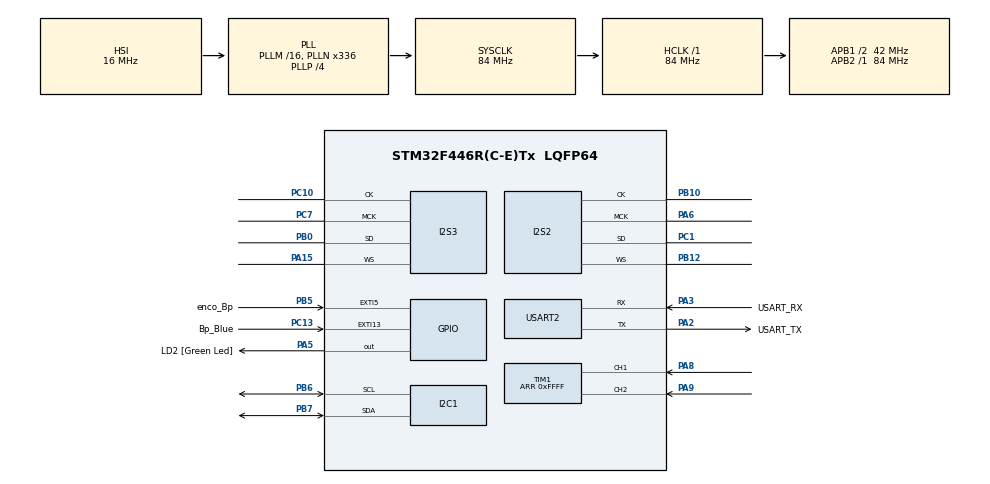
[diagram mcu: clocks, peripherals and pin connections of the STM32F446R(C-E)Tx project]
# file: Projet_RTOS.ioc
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Dma.Request0=SPI2_RX
Dma.Request1=SPI3_TX
Dma.SPI2_RX.0.Direction=DMA_PERIPH_TO_MEMORY
Dma.SPI2_RX.0.FIFOMode=DMA_FIFOMODE_DISABLE
Dma.SPI2_RX.0.Instance=DMA1_Stream3
Dma.SPI2_RX.0.MemDataAlignment=DMA_MDATAALIGN_HALFWORD
Dma.SPI2_RX.0.MemInc=DMA_MINC_ENABLE
Dma.SPI2_RX.0.Mode=DMA_CIRCULAR
Dma.SPI2_RX.0.PeriphDataAlignment=DMA_PDATAALIGN_HALFWORD
Dma.SPI2_RX.0.PeriphInc=DMA_PINC_DISABLE
Dma.SPI2_RX.0.Priority=DMA_PRIORITY_LOW
Dma.SPI3_TX.1.Direction=DMA_MEMORY_TO_PERIPH
Dma.SPI3_TX.1.FIFOMode=DMA_FIFOMODE_DISABLE
Dma.SPI3_TX.1.Instance=DMA1_Stream5
Dma.SPI3_TX.1.MemDataAlignment=DMA_MDATAALIGN_HALFWORD
Dma.SPI3_TX.1.MemInc=DMA_MINC_ENABLE
Dma.SPI3_TX.1.Mode=DMA_CIRCULAR
Dma.SPI3_TX.1.PeriphDataAlignment=DMA_PDATAALIGN_HALFWORD
Dma.SPI3_TX.1.PeriphInc=DMA_PINC_DISABLE
Dma.SPI3_TX.1.Priority=DMA_PRIORITY_LOW
FREERTOS.BinarySemaphores01=AudioSem,Dynamic,NULL,Available
FREERTOS.Events01=WaitNewVal,Dynamic,NULL
FREERTOS.Tasks01=defaultTask,24,128,StartDefaultTask,Default,NULL,Dynamic,NULL,NULL;ReadEncTask,25,128,StartReadEncTask,Default,NULL,Dynamic,NULL,NULL;AudioTask,32,128,StartAudioTask,Default,NULL,Dynamic,NULL,NULL;DisplayTask,25,128,StartDisplayTask,Default,NULL,Dynamic,NULL,NULL
FREERTOS.configENABLE_FPU=1
FREERTOS.configUSE_NEWLIB_REENTRANT=1
I2S2.AudioFreq=I2S_AUDIOFREQ_44K
I2S2.ErrorAudioFreq=-5.3 %
I2S2.FullDuplexMode=I2S_FULLDUPLEXMODE_DISABLE
I2S2.Instance=SPI$Index
I2S2.Mode=I2S_MODE_MASTER_RX
I2S2.RealAudioFreq=41.666 KHz
I2S2.VirtualMode=I2S_MODE_MASTER
I2S3.AudioFreq=I2S_AUDIOFREQ_44K
I2S3.ErrorAudioFreq=-5.3 %
I2S3.FullDuplexMode=I2S_FULLDUPLEXMODE_DISABLE
I2S3.Instance=SPI$Index
I2S3.Mode=I2S_MODE_MASTER_TX
I2S3.RealAudioFreq=41.666 KHz
I2S3.VirtualMode=I2S_MODE_MASTER
Mcu.Family=STM32F4
Mcu.Name=STM32F446R(C-E)Tx
Mcu.Package=LQFP64
NVIC.DMA1_Stream3_IRQn=true\:5\:0\:false\:false\:true\:true\:false\:true\:true
NVIC.DMA1_Stream5_IRQn=true\:5\:0\:false\:false\:true\:true\:false\:true\:true
NVIC.EXTI15_10_IRQn=true\:5\:0\:false\:false\:true\:true\:true\:true\:true
NVIC.EXTI9_5_IRQn=true\:5\:0\:false\:false\:true\:true\:true\:true\:true
NVIC.FPU_IRQn=true\:5\:0\:false\:false\:true\:true\:true\:false\:true
NVIC.PriorityGroup=NVIC_PRIORITYGROUP_4
NVIC.TIM7_IRQn=true\:15\:0\:false\:false\:true\:false\:false\:true\:true
NVIC.TimeBase=TIM7_IRQn
NVIC.TimeBaseIP=TIM7
PA13.GPIO_Label=TMS
PA13.Mode=Serial_Wire
PA13.Signal=SYS_JTMS-SWDIO
PA14.GPIO_Label=TCK
PA14.Mode=Serial_Wire
PA14.Signal=SYS_JTCK-SWCLK
PA15.Mode=Half_Duplex_Master
PA15.Signal=I2S3_WS
PA2.GPIO_Label=USART_TX
PA2.Mode=Asynchronous
PA2.Signal=USART2_TX
PA3.GPIO_Label=USART_RX
PA3.Mode=Asynchronous
PA3.Signal=USART2_RX
PA5.GPIO_Label=LD2 [Green Led]
PA5.Signal=GPIO_Output
PA6.Mode=Master_Clock_Activated
PA6.Signal=I2S2_MCK
PA8.GPIO_PuPd=GPIO_PULLUP
PA8.Signal=S_TIM1_CH1
PA9.GPIO_PuPd=GPIO_PULLUP
PA9.Signal=S_TIM1_CH2
PB0.Mode=Half_Duplex_Master
PB0.Signal=I2S3_SD
PB10.Mode=Half_Duplex_Master
PB10.Signal=I2S2_CK
PB12.Mode=Half_Duplex_Master
PB12.Signal=I2S2_WS
PB3.GPIO_Label=SWO
PB3.Signal=SYS_JTDO-SWO
PB5.GPIO_Label=enco_Bp
PB5.GPIO_PuPd=GPIO_PULLUP
PB5.Signal=GPXTI5
PB6.Mode=I2C
PB6.Signal=I2C1_SCL
PB7.Mode=I2C
PB7.Signal=I2C1_SDA
PC1.Mode=Half_Duplex_Master
PC1.Signal=I2S2_SD
PC10.Mode=Half_Duplex_Master
PC10.Signal=I2S3_CK
PC13.GPIO_Label=Bp_Blue
PC13.Signal=GPXTI13
PC14-OSC32_IN.Mode=LSE-External-Oscillator
PC14-OSC32_IN.Signal=RCC_OSC32_IN
PC15-OSC32_OUT.Mode=LSE-External-Oscillator
PC15-OSC32_OUT.Signal=RCC_OSC32_OUT
PC7.Mode=Master_Clock_Activated
PC7.Signal=I2S3_MCK
PH0-OSC_IN.Mode=HSE-External-Oscillator
PH0-OSC_IN.Signal=RCC_OSC_IN
PH1-OSC_OUT.Mode=HSE-External-Oscillator
PH1-OSC_OUT.Signal=RCC_OSC_OUT
ProjectManager.HeapSize=0x200
ProjectManager.StackSize=0x400
ProjectManager.TargetToolchain=STM32CubeIDE
RCC.48MHZClocksFreq_Value=84000000
RCC.AHBFreq_Value=84000000
RCC.APB1CLKDivider=RCC_HCLK_DIV2
RCC.APB1Freq_Value=42000000
RCC.APB1TimFreq_Value=84000000
RCC.APB2Freq_Value=84000000
RCC.APB2TimFreq_Value=84000000
RCC.CortexFreq_Value=84000000
RCC.FLatency-AdvancedSettings=FLASH_LATENCY_2
RCC.HCLKFreq_Value=84000000
RCC.HSE_VALUE=8000000
RCC.HSI_VALUE=16000000
RCC.PLLN=336
RCC.PLLP=RCC_PLLP_DIV4
RCC.SYSCLKFreq_VALUE=84000000
RCC.SYSCLKSource=RCC_SYSCLKSOURCE_PLLCLK
RCC.USBFreq_Value=168000000
RCC.VCOOutputFreq_Value=336000000
SH.S_TIM1_CH1.0=TIM1_CH1,Encoder_Interface
SH.S_TIM1_CH2.0=TIM1_CH2,Encoder_Interface
TIM1.EncoderMode=TIM_ENCODERMODE_TI1
TIM1.IC1Filter=4
TIM1.IC1Polarity=TIM_ICPOLARITY_RISING
TIM1.IC2Filter=4
TIM1.IC2Polarity=TIM_ICPOLARITY_RISING
TIM1.Period=0xFFFF
USART2.VirtualMode=VM_ASYNC
VP_FREERTOS_VS_CMSIS_V2.Mode=CMSIS_V2
VP_SYS_VS_tim7.Mode=TIM7
board=NUCLEO-F446RE

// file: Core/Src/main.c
/* USER CODE BEGIN Header */
/**
  ******************************************************************************
  * @file           : main.c
  * @brief          : Main program body
  ******************************************************************************
  * @attention
  *
  * Copyright (c) 2025 STMicroelectronics.
  * All rights reserved.
  *
  * This software is licensed under terms that can be found in the LICENSE file
  * in the root directory of this software component.
  * If no LICENSE file comes with this software, it is provided AS-IS.
  *
  ******************************************************************************
  */
/* USER CODE END Header */
#include "main.h"
#include "cmsis_os.h"
#include "dma.h"
#include "i2c.h"
#include "i2s.h"
#include "tim.h"
#include "usart.h"
#include "gpio.h"

/* USER CODE BEGIN PV */
volatile uint32_t i2s_dma_flags = 0;
volatile uint32_t i2s_enco_bp_flags = 0;

#if defined(CMSIS_Filtering)
float32_t biquadCoeffs[5];
float32_t biquadState[2 * NUM_STAGES];
arm_biquad_cascade_df2T_instance_f32 biquad;
#elif defined(USER_DF2T)
float32_t biquadCoeffs[5];
float32_t biquadState[2 * NUM_STAGES];
#elif defined(USER_DF1)
float32_t biquadCoeffs[5];
q15_t biquadState[4 * NUM_STAGES];
#endif
/* USER CODE END PV */

void SystemClock_Config(void);
void PeriphCommonClock_Config(void);
void MX_FREERTOS_Init(void);

int main(void)
{

  /* MCU Configuration--------------------------------------------------------*/

  /* Reset of all peripherals, Initializes the Flash interface and the Systick. */
  HAL_Init();

  /* Configure the system clock */
  SystemClock_Config();

  /* Configure the peripherals common clocks */
  PeriphCommonClock_Config();

  /* Initialize all configured peripherals */
  MX_GPIO_Init();
  MX_DMA_Init();
  MX_USART2_UART_Init();
  MX_I2C1_Init();
  MX_TIM1_Init();
  MX_I2S2_Init();
  MX_I2S3_Init();
  /* USER CODE BEGIN 2 */
  printf("\033[2J\033[HDebut du programme\n\r");
  fflush(stdout);
  HAL_GPIO_TogglePin(LD2_GPIO_Port, LD2_Pin);
  HAL_TIM_Encoder_Start(&htim1, TIM_CHANNEL_ALL);
  lcd_init(hi2c1);
  lcd_write("HELLO");
  lcd_put_cursor(1,0);
  lcd_write("BELLEVRAS JULES");
  printf("Projet de Jules\r\n");

#if !defined(DIRECT_COPY) && !defined(AmplifyOnly) && !defined(CMSIS_Filtering) && !defined(USER_DF2T) && !defined(USER_DF1)
#error "No audio processing mode defined, please define one of: DIRECT_COPY, AmplifyOnly, CMSIS_Filtering, USER_DF2T, USER_DF1"
#elif defined(DIRECT_COPY)
#if defined(AmplifyOnly) || defined(CMSIS_Filtering) || defined(USER_DF2T) || defined(USER_DF1)
  #error "Multiple audio processing modes defined, please define only one of: DIRECT_COPY, AmplifyOnly, CMSIS_Filtering, USER_DF2T, USER_DF1"
#endif
	printf("Direct copy mode\r\n");
#elif defined(AmplifyOnly)
#if defined(DIRECT_COPY) || defined(CMSIS_Filtering) || defined(USER_DF2T) || defined(USER_DF1)
  #error "Multiple audio processing modes defined, please define only one of: DIRECT_COPY, AmplifyOnly, CMSIS_Filtering, USER_DF2T, USER_DF1"
#endif
	printf("Amplify only mode\r\n");
#elif defined(USER_DF2T)
#if defined(DIRECT_COPY) || defined(AmplifyOnly) || defined(CMSIS_Filtering) || defined(USER_DF1)
  #error "Multiple audio processing modes defined, please define only one of: DIRECT_COPY, AmplifyOnly, CMSIS_Filtering, USER_DF2T, USER_DF1"
#endif
	printf("User DF2T filtering mode\r\n");
#elif defined(USER_DF1)
#if defined(DIRECT_COPY) || defined(AmplifyOnly) || defined(CMSIS_Filtering) || defined(USER_DF2T)
  #error "Multiple audio processing modes defined, please define only one of: DIRECT_COPY, AmplifyOnly, CMSIS_Filtering, USER_DF2T, USER_DF1"
#endif
	printf("User DF1 filtering mode\r\n");
#elif defined(CMSIS_Filtering)
#if defined(DIRECT_COPY) || defined(AmplifyOnly) || defined(USER_DF2T) || defined(USER_DF1)
  #error "Multiple audio processing modes defined, please define only one of: DIRECT_COPY, AmplifyOnly, CMSIS_Filtering, USER_DF2T, USER_DF1"
#endif
	printf("CMSIS filtering mode\r\n");
#endif
#if defined(USER_DF2T) || defined(CMSIS_Filtering) || defined(USER_DF1)
	Param_Biq_filter_2nd_Order_Low_pass(FreqC, 44000, biquadCoeffs);
	printf("Frequence de coupure actuelle: %lu\n\r", FreqC);
	printf("Biquad Coefficients:\r\n • b0=%f\r\n • b1=%f\r\n • b2=%f\r\n • a1=%f\r\n • a2=%f\r\n",
		   biquadCoeffs[0], biquadCoeffs[1], biquadCoeffs[2],biquadCoeffs[3], biquadCoeffs[4]);
#if defined(CMSIS_Filtering)
	for (uint32_t i = 0; i < (2 * NUM_STAGES); i++){
		biquadState[i] = 0.0f;
	}
	arm_biquad_cascade_df2T_init_f32(&biquad, NUM_STAGES, biquadCoeffs, biquadState);
#elif defined(USER_DF2T)
	for (uint32_t i = 0; i < (2 * NUM_STAGES); i++){
	  biquadState[i] = 0.0f;
	}
#elif defined(USER_DF1)
	for (uint32_t i = 0; i < (4 * NUM_STAGES); i++){
	  biquadState[i] = 0;
	}
#endif
#endif
  /* USER CODE END 2 */

  /* Init scheduler */
  osKernelInitialize();  /* Call init function for freertos objects (in cmsis_os2.c) */
  MX_FREERTOS_Init();

  /* Start scheduler */
  osKernelStart();

  /* We should never get here as control is now taken by the scheduler */

  /* Infinite loop */
  while (1)
  {

  }
}

void SystemClock_Config(void)
{
  RCC_OscInitTypeDef RCC_OscInitStruct = {0};
  RCC_ClkInitTypeDef RCC_ClkInitStruct = {0};

  /** Configure the main internal regulator output voltage
  */
  __HAL_RCC_PWR_CLK_ENABLE();
  __HAL_PWR_VOLTAGESCALING_CONFIG(PWR_REGULATOR_VOLTAGE_SCALE3);

  /** Initializes the RCC Oscillators according to the specified parameters
  * in the RCC_OscInitTypeDef structure.
  */
  RCC_OscInitStruct.OscillatorType = RCC_OSCILLATORTYPE_HSI;
  RCC_OscInitStruct.HSIState = RCC_HSI_ON;
  RCC_OscInitStruct.HSICalibrationValue = RCC_HSICALIBRATION_DEFAULT;
  RCC_OscInitStruct.PLL.PLLState = RCC_PLL_ON;
  RCC_OscInitStruct.PLL.PLLSource = RCC_PLLSOURCE_HSI;
  RCC_OscInitStruct.PLL.PLLM = 16;
  RCC_OscInitStruct.PLL.PLLN = 336;
  RCC_OscInitStruct.PLL.PLLP = RCC_PLLP_DIV4;
  RCC_OscInitStruct.PLL.PLLQ = 2;
  RCC_OscInitStruct.PLL.PLLR = 2;
  if (HAL_RCC_OscConfig(&RCC_OscInitStruct) != HAL_OK)
  {
    Error_Handler();
  }

  /** Initializes the CPU, AHB and APB buses clocks
  */
  RCC_ClkInitStruct.ClockType = RCC_CLOCKTYPE_HCLK|RCC_CLOCKTYPE_SYSCLK
                              |RCC_CLOCKTYPE_PCLK1|RCC_CLOCKTYPE_PCLK2;
  RCC_ClkInitStruct.SYSCLKSource = RCC_SYSCLKSOURCE_PLLCLK;
  RCC_ClkInitStruct.AHBCLKDivider = RCC_SYSCLK_DIV1;
  RCC_ClkInitStruct.APB1CLKDivider = RCC_HCLK_DIV2;
  RCC_ClkInitStruct.APB2CLKDivider = RCC_HCLK_DIV1;

  if (HAL_RCC_ClockConfig(&RCC_ClkInitStruct, FLASH_LATENCY_2) != HAL_OK)
  {
    Error_Handler();
  }
}

void PeriphCommonClock_Config(void)
{
  RCC_PeriphCLKInitTypeDef PeriphClkInitStruct = {0};

  /** Initializes the peripherals clock
  */
  PeriphClkInitStruct.PeriphClockSelection = RCC_PERIPHCLK_I2S_APB1;
  PeriphClkInitStruct.PLLI2S.PLLI2SN = 192;
  PeriphClkInitStruct.PLLI2S.PLLI2SP = RCC_PLLI2SP_DIV2;
  PeriphClkInitStruct.PLLI2S.PLLI2SM = 16;
  PeriphClkInitStruct.PLLI2S.PLLI2SR = 2;
  PeriphClkInitStruct.PLLI2S.PLLI2SQ = 2;
  PeriphClkInitStruct.PLLI2SDivQ = 1;
  PeriphClkInitStruct.I2sApb1ClockSelection = RCC_I2SAPB1CLKSOURCE_PLLI2S;
  if (HAL_RCCEx_PeriphCLKConfig(&PeriphClkInitStruct) != HAL_OK)
  {
    Error_Handler();
  }
}

/* USER CODE BEGIN 4 */
int __io_putchar(int ch)
{
/* Custom implementation of fputc here */
HAL_UART_Transmit(&huart2, (uint8_t* )&ch, 1, 0xFFFF);
return ch;
}

/* USER CODE END 4 */

void HAL_TIM_PeriodElapsedCallback(TIM_HandleTypeDef *htim)
{
  if (htim->Instance == TIM7)
  {
    HAL_IncTick();
  }
}

void Error_Handler(void)
{
  __disable_irq();
  while (1)
  {
  }
}

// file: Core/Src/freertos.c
/* USER CODE BEGIN Header */
/**
  ******************************************************************************
  * File Name          : freertos.c
  * Description        : Code for freertos applications
  ******************************************************************************
  * @attention
  *
  * Copyright (c) 2025 STMicroelectronics.
  * All rights reserved.
  *
  * This software is licensed under terms that can be found in the LICENSE file
  * in the root directory of this software component.
  * If no LICENSE file comes with this software, it is provided AS-IS.
  *
  ******************************************************************************
  */
/* USER CODE END Header */

#include "FreeRTOS.h"
#include "task.h"
#include "main.h"
#include "cmsis_os.h"
#include <math.h>

/* USER CODE BEGIN PD */
#ifdef CMSIS_Filtering
static float32_t buf_in[I2S_HALF_BUFFER_SIZE];
static float32_t buf_out[I2S_HALF_BUFFER_SIZE];
#endif
/* USER CODE END PD */

/* USER CODE BEGIN Variables */
int8_t menu_index = 0;
int8_t sub_menu_index = 0;
int16_t delta = 0;

static int16_t i2s3_buffer[I2S_BUFFER_SIZE];
static int16_t i2s2_buffer[I2S_BUFFER_SIZE];

int32_t GainValue = 0;
int32_t FreqC = 10000;
int32_t FreqC_Old = 10000;

/* USER CODE END Variables */
/* Definitions for defaultTask */
osThreadId_t defaultTaskHandle;
const osThreadAttr_t defaultTask_attributes = {
  .name = "defaultTask",
  .stack_size = 128 * 4,
  .priority = (osPriority_t) osPriorityNormal,
};
/* Definitions for ReadEncTask */
osThreadId_t ReadEncTaskHandle;
const osThreadAttr_t ReadEncTask_attributes = {
  .name = "ReadEncTask",
  .stack_size = 128 * 4,
  .priority = (osPriority_t) osPriorityNormal1,
};
/* Definitions for AudioTask */
osThreadId_t AudioTaskHandle;
const osThreadAttr_t AudioTask_attributes = {
  .name = "AudioTask",
  .stack_size = 128 * 4,
  .priority = (osPriority_t) osPriorityAboveNormal,
};
/* Definitions for DisplayTask */
osThreadId_t DisplayTaskHandle;
const osThreadAttr_t DisplayTask_attributes = {
  .name = "DisplayTask",
  .stack_size = 128 * 4,
  .priority = (osPriority_t) osPriorityNormal1,
};
/* Definitions for AudioSem */
osSemaphoreId_t AudioSemHandle;
const osSemaphoreAttr_t AudioSem_attributes = {
  .name = "AudioSem"
};
/* Definitions for WaitNewVal */
osEventFlagsId_t WaitNewValHandle;
const osEventFlagsAttr_t WaitNewVal_attributes = {
  .name = "WaitNewVal"
};

/* USER CODE BEGIN FunctionPrototypes */

static inline int16_t EncoderSteps(void)
{
	// Convert 0-65535 to -32768 to +32767
	int16_t Val = (int16_t)__HAL_TIM_GET_COUNTER(&htim1)>>1;
    return Val;
}

static inline int32_t clamp_int32(int32_t value, int32_t min, int32_t max)
{
	if (value < min) {
		return min;
	}
	if (value > max) {
		return max;
	}
	return value;
}

static void UpdateBiquadIfFreqChanged(void)
{
#if defined(USER_DF2T) || defined(CMSIS_Filtering) || defined(USER_DF1)
	if (FreqC != FreqC_Old) {
		FreqC_Old = FreqC;
		Param_Biq_filter_2nd_Order_Low_pass((uint16_t)FreqC, 44000U, biquadCoeffs);
		printf("\033[F\033[K");
		printf("\033[F\033[K");
		printf("\033[F\033[K");
		printf("\033[F\033[K");
		printf("\033[F\033[K");
		printf("\033[F\033[K");
		printf("\033[F\033[KFrequence de coupure actuelle: %lu\n\r", FreqC);
		printf("Biquad Coefficients:\r\n • b0=%f\r\n • b1=%f\r\n • b2=%f\r\n • a1=%f\r\n • a2=%f\r\n",
					biquadCoeffs[0], biquadCoeffs[1], biquadCoeffs[2],biquadCoeffs[3], biquadCoeffs[4]);
#ifdef CMSIS_Filtering
		arm_biquad_cascade_df2T_init_f32(&biquad, NUM_STAGES, biquadCoeffs, biquadState);
#endif
	}
#endif
}

static void ProcessAudioChunk(int16_t *src, int16_t *dst)
{
#ifdef CMSIS_Filtering
	for (uint32_t i = 0; i < I2S_HALF_BUFFER_SIZE; i++) {
		buf_in[i] = (float32_t)src[i];
	}
	arm_biquad_cascade_df2T_f32(&biquad, buf_in, buf_out, I2S_HALF_BUFFER_SIZE);
	for (uint32_t i = 0; i < I2S_HALF_BUFFER_SIZE; i++) {
		dst[i] = (int16_t)clamp_int32((int32_t)lroundf(buf_out[i]), INT16_MIN, INT16_MAX);
	}
#elif defined(DIRECT_COPY)
	memcpy(dst, src, I2S_HALF_BUFFER_SIZE * sizeof(int16_t));
#elif defined(AmplifyOnly)
	ApplyGain(src, dst, I2S_HALF_BUFFER_SIZE, GainValue);
#elif defined(USER_DF2T)
	Apply_Biquad_Filter_DF2T(src, dst, I2S_HALF_BUFFER_SIZE, biquadCoeffs, biquadState);
#elif defined(USER_DF1)
	Apply_Biquad_Filter_DF1(src, dst, I2S_HALF_BUFFER_SIZE,
						   biquadCoeffs,
						   biquadState);
#endif
}
/* USER CODE END FunctionPrototypes */

void StartDefaultTask(void *argument);
void StartReadEncTask(void *argument);
void StartAudioTask(void *argument);
void StartDisplayTask(void *argument);

void MX_FREERTOS_Init(void); /* (MISRA C 2004 rule 8.1) */

void MX_FREERTOS_Init(void) {

  /* Create the semaphores(s) */
  /* creation of AudioSem */
  AudioSemHandle = osSemaphoreNew(1, 1, &AudioSem_attributes);

  /* Create the thread(s) */
  /* creation of defaultTask */
  defaultTaskHandle = osThreadNew(StartDefaultTask, NULL, &defaultTask_attributes);

  /* creation of ReadEncTask */
  ReadEncTaskHandle = osThreadNew(StartReadEncTask, NULL, &ReadEncTask_attributes);

  /* creation of AudioTask */
  AudioTaskHandle = osThreadNew(StartAudioTask, NULL, &AudioTask_attributes);

  /* creation of DisplayTask */
  DisplayTaskHandle = osThreadNew(StartDisplayTask, NULL, &DisplayTask_attributes);

  /* Create the event(s) */
  /* creation of WaitNewVal */
  WaitNewValHandle = osEventFlagsNew(&WaitNewVal_attributes);

}

void StartDefaultTask(void *argument)
{
  for(;;)
  {
    osDelay(1);
  }
}

void StartReadEncTask(void *argument)
{
  /* USER CODE BEGIN StartReadEncTask */
	int16_t CMPT = 0;
		int16_t CMPT_OLD;
		CMPT_OLD = CMPT;
		uint32_t last_mode = i2s_enco_bp_flags;
	  /* Infinite loop */
		for(;;)
		{
		  if (i2s_enco_bp_flags != last_mode) {
			  CMPT_OLD = EncoderSteps();
			  last_mode = i2s_enco_bp_flags;
		  }

		  CMPT = EncoderSteps();
		  delta = (int16_t)(CMPT - CMPT_OLD);
		  if (delta != 0) {
			  if(i2s_enco_bp_flags == 1U){
				  if(menu_index == 0U)
				  {
					  GainValue = (int32_t)clamp_int32(GainValue + delta, AUDIO_GAIN_MIN, AUDIO_GAIN_MAX);
				  }
				  else if (menu_index == 1U)
				  {
					  int32_t new_freq = FreqC + ((int32_t)delta * FREQC_STEP_HZ);
					  FreqC = (int32_t)clamp_int32(new_freq, FREQC_MIN_HZ, FREQC_MAX_HZ);
					  UpdateBiquadIfFreqChanged();
				  }
				  osEventFlagsSet(WaitNewValHandle, I2S_ENCO_SUB_MENU_FLAG);
			  }
			  else if(i2s_enco_bp_flags == 0U){
				  //Menu navigation
					osEventFlagsSet(WaitNewValHandle, I2S_ENCO_MENU_FLAG);
			  }
			  else{
				  //Should not happen
			  }
			  CMPT_OLD = CMPT;
		  }

		osThreadYield();
		}
  /* USER CODE END StartReadEncTask */
}

void StartAudioTask(void *argument)
{
	 if (HAL_I2S_Transmit_DMA(&hi2s3, (uint16_t*)i2s2_buffer, I2S_BUFFER_SIZE) != HAL_OK)
	    {
	        printf("ERR: I2S3 RX DMA\n");
	        Error_Handler();
	    }
	    if (HAL_I2S_Receive_DMA(&hi2s2,(uint16_t*)i2s3_buffer, I2S_BUFFER_SIZE) != HAL_OK)
	    {
	        printf("ERR: I2S2 TX DMA\n");
	        Error_Handler();
	    }
		for (;;)
	    {
			osSemaphoreAcquire(AudioSemHandle, osWaitForever);
			if (i2s_dma_flags & I2S_DMA_FLAG_HALF)
			{
				i2s_dma_flags &= ~I2S_DMA_FLAG_HALF;
				ProcessAudioChunk(i2s3_buffer, i2s2_buffer);
			}

			if (i2s_dma_flags & I2S_DMA_FLAG_FULL)
			{
				i2s_dma_flags &= ~I2S_DMA_FLAG_FULL;
				ProcessAudioChunk(&i2s3_buffer[I2S_HALF_BUFFER_SIZE], &i2s2_buffer[I2S_HALF_BUFFER_SIZE]);
			}
	    }
  /* USER CODE END StartAudioTask */
}

void StartDisplayTask(void *argument)
{
  /* USER CODE BEGIN StartDisplayTask */

	__HAL_TIM_SET_COUNTER(&htim1,0);

	uint32_t flags;
	char buffer[32] = " ";
  lcd_clear();
  menu_index = ClampMenuIndex(EncoderSteps(), MENU_COUNT - 1, 0);
  MenuDisplay(menu_index, buffer, sizeof(buffer));
  lcd_write(buffer);
  lcd_put_cursor(1, 0);
  if (menu_index == 0U) {
	  SubMenuDisplay(menu_index, GainValue, buffer, sizeof(buffer));
  } else if (menu_index == 1U) {
	  SubMenuDisplay(menu_index, FreqC, buffer, sizeof(buffer));
  } else {
	  SubMenuDisplay(menu_index, 0, buffer, sizeof(buffer));
  }
  lcd_write(buffer);

	/* Infinite loop */
	for(;;)
	{
		flags = osEventFlagsWait(WaitNewValHandle, I2S_ENCO_SUB_MENU_FLAG | I2S_ENCO_MENU_FLAG, osFlagsWaitAny, osWaitForever);

		if(flags & I2S_ENCO_MENU_FLAG){
			menu_index = ClampMenuIndex((int32_t)menu_index + (int32_t)delta, MENU_COUNT - 1, 0);
			lcd_clear();
			MenuDisplay(menu_index , buffer, sizeof(buffer));
			lcd_write(buffer);
			lcd_put_cursor(1, 0);
			lcd_write(blank_line);
			lcd_put_cursor(1, 0);
			if (menu_index == 0U) {
				SubMenuDisplay(menu_index, GainValue, buffer, sizeof(buffer));
			}
			else if (menu_index == 1U) {
				SubMenuDisplay(menu_index, FreqC, buffer, sizeof(buffer));
			}
			else {
				SubMenuDisplay(menu_index, 0, buffer, sizeof(buffer));
			}
			lcd_write(buffer);
		}

		if (flags & I2S_ENCO_SUB_MENU_FLAG) {

			sub_menu_index = ClampMenuIndex((int32_t)sub_menu_index + (int32_t)delta, 4, 0);
			lcd_put_cursor(1, 0);
			lcd_write(blank_line);
			lcd_put_cursor(1, 0);
			if (menu_index == 0U) {
				SubMenuDisplay(menu_index, GainValue, buffer, sizeof(buffer));
			} else if (menu_index == 1U) {
				SubMenuDisplay(menu_index, FreqC, buffer, sizeof(buffer));
			} else {
				SubMenuDisplay(menu_index, sub_menu_index, buffer, sizeof(buffer));
			}
			lcd_write(buffer);
		}
	}
  /* USER CODE END StartDisplayTask */
}
